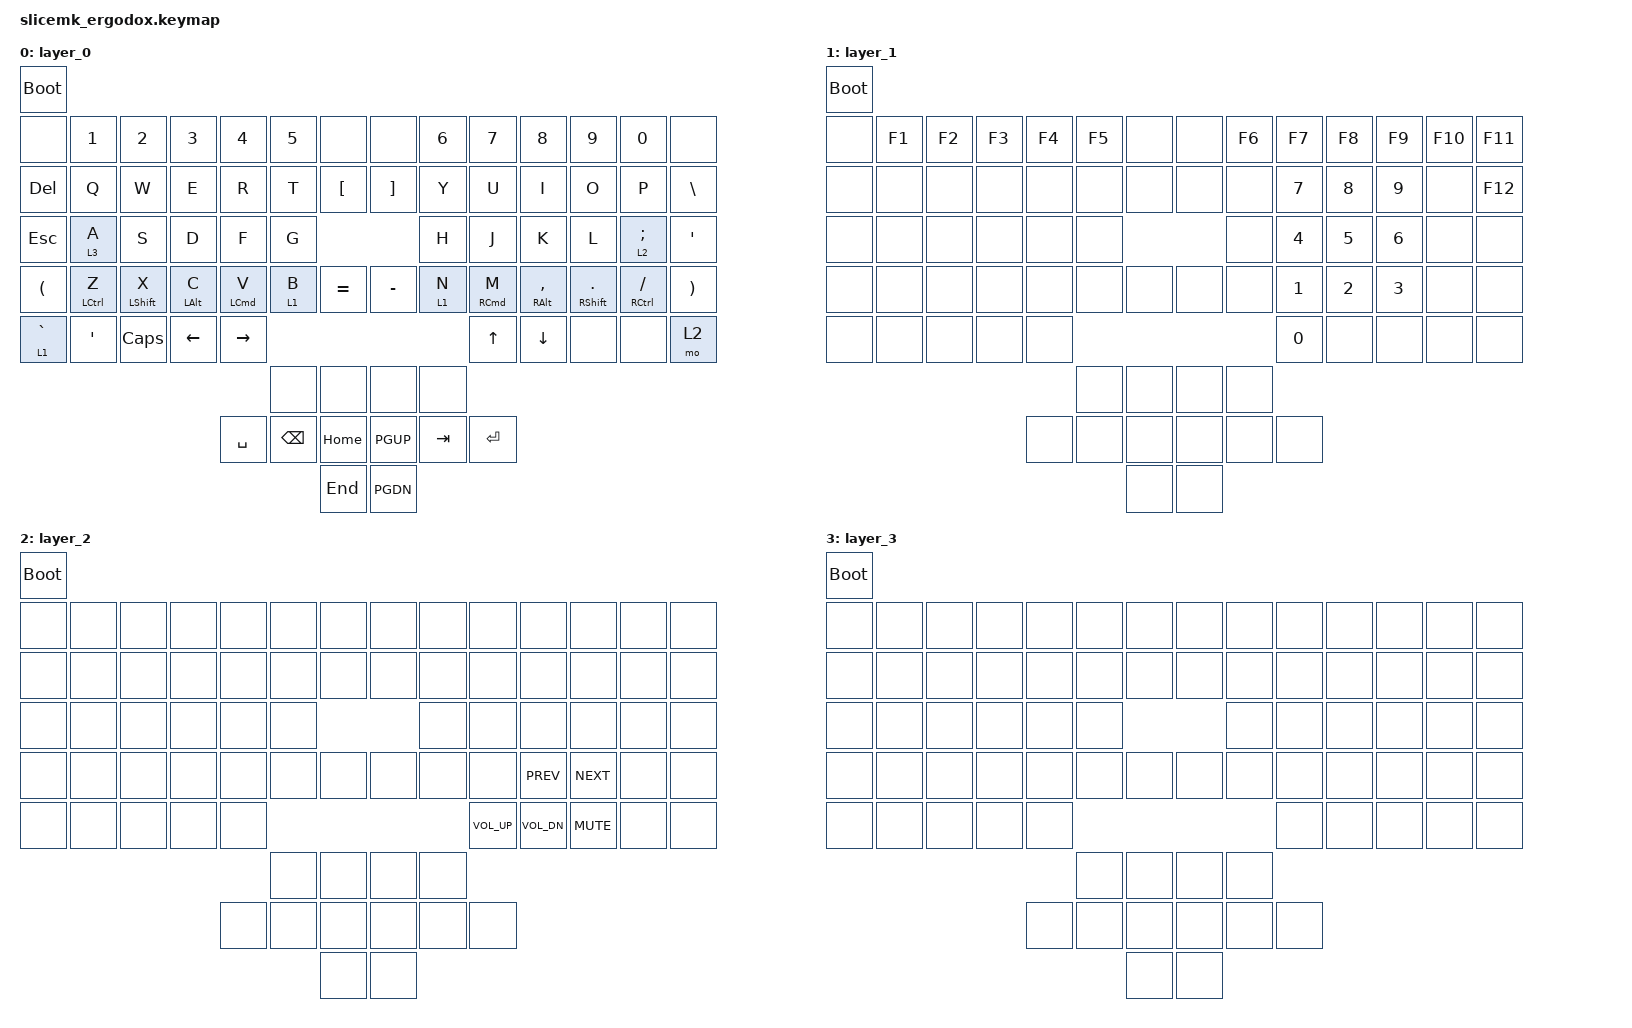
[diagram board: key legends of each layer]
#include <behaviors.dtsi>
#include <dt-bindings/zmk/bt.h>
#include <dt-bindings/zmk/keys.h>
#include <dt-bindings/zmk/outputs.h>
#include <dt-bindings/zmk/rgb.h>

&lt {
	tapping-term-ms = <200>;
};

&caps_word {
	continue-list = <UNDERSCORE MINUS BSPC DEL N1 N2 N3 N4 N5 N6 N7 N8 N9 N0>;
};

/ {
	behaviors {
		am: alpha_mods {
			compatible = "zmk,behavior-hold-tap";
			label = "ALPHA_MT";
			#binding-cells = <2>;
			tapping-term-ms = <200>;
			quick-tap-ms = <0>;
			flavor = "tap-preferred";
			bindings = <&kp>, <&kp>;
		};
		as: alpha_shift {
			compatible = "zmk,behavior-hold-tap";
			label = "ALPHA_SFT";
			#binding-cells = <2>;
			tapping-term-ms = <200>;
			quick-tap-ms = <0>;
			flavor = "balanced";
			bindings = <&kp>,<&kp>;
		};
	};
};



/ {
	keymap {
		compatible = "zmk,keymap";
		layer_0 {
			bindings = <
				&bootloader
				&none       &kp NUMBER_1 &kp NUMBER_2 &kp NUMBER_3 &kp NUMBER_4   &kp NUMBER_5 &none    &none     &kp NUMBER_6 &kp NUMBER_7 &kp NUMBER_8  &kp NUMBER_9   &kp NUMBER_0   &none
				&kp DEL     &kp Q        &kp W        &kp E        &kp R          &kp T        &kp LBKT &kp RBKT  &kp Y        &kp U        &kp I         &kp O          &kp P          &kp BSLH
				&kp ESC     &lt 3 A      &kp S        &kp D        &kp F          &kp G                           &kp H        &kp J        &kp K         &kp L          &lt 2 SEMI     &kp SQT
				&kp LPAR    &am LCTRL Z  &as LSHIFT X &am LALT C   &am LCMD V     &lt 1 B      &kp EQL  &kp MINUS &lt 1 N      &am RCMD M   &am RALT CMMA &as RSHIFT DOT &am RCTRL FSLH &kp RPAR
				&lt 1 GRAVE &kp SQT      &kp CAPS     &kp LEFT     &kp RIGHT                                                   &kp UP       &kp DOWN      &none          &none          &mo 2
				                                                                  &none        &none    &none     &none
				                                                   &kp SPACE      &kp BSPC     &kp HOME &kp PGUP  &kp TAB      &kp ENTER
				                                                                               &kp END  &kp PGDN
			>;
		};
		layer_1 {
			bindings = <
				&bootloader
				&none &kp F1 &kp F2 &kp F3 &kp F4 &kp F5 &none &none &kp F6 &kp F7        &kp F8        &kp F9        &kp F10 &kp F11
				&none &none  &none  &none  &none  &none  &none &none &none  &kp NUMBER_7  &kp NUMBER_8  &kp NUMBER_9  &none   &kp F12
				&none &none  &none  &none  &none  &none              &none  &kp NUMBER_4  &kp NUMBER_5  &kp NUMBER_6  &none   &none
				&none &none  &none  &none  &none  &none  &none &none &none  &kp NUMBER_1  &kp NUMBER_2  &kp NUMBER_3  &none   &none
				&none &none  &none  &none  &none                            &kp NUMBER_0  &none         &none         &none   &none
				                                  &none  &none &none &none
				                           &none  &none  &none &none &none  &none
				                                         &none &none
			>;
		};
		layer_2 {
			bindings = <
				&bootloader
				&none &none &none          &none          &none           &none &none &none &none &none        &none        &none      &none &none
				&none &none &none          &none          &none           &none &none &none &none &none        &none        &none      &none &none
				&none &none &none          &none          &none           &none             &none &none        &none        &none      &none &none
				&none &none &none          &none          &none           &none &none &none &none &none        &kp C_PREV   &kp C_NEXT &none &none
				&none &none &none          &none          &none                                   &kp C_VOL_UP &kp C_VOL_DN &kp C_MUTE &none &none
				                                                          &none &none &none &none
				                                                    &none &none &none &none &none &none
				                                                                &none &none
			>;
		};
		layer_3 {
			bindings = <
				&bootloader
				&none &none &none &none &none &none &none &none &none &none &none &none &none &none
				&none &none &none &none &none &none &none &none &none &none &none &none &none  &none
				&none &none &none &none &none &none             &none &none &none &none &none  &none
				&none &none &none &none &none &none &none &none &none &none &none &none &none  &none
				&none &none &none &none &none                         &none &none &none &none  &none
				                              &none &none &none &none
				                        &none &none &none &none &none &none
				                                    &none &none
			>;
		};
	};

};

